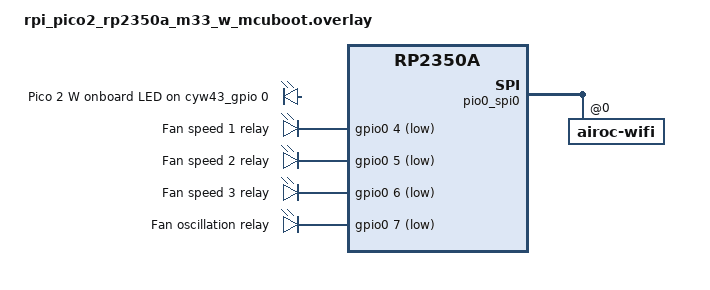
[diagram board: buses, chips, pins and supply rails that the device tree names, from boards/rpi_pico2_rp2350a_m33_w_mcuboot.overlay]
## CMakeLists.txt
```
# SPDX-License-Identifier: Apache-2.0

cmake_minimum_required(VERSION 3.20.0)

# Zephyr currently selects the generic Murata 1YN NVRAM for CYW43439 by
# default. Raspberry Pi Pico W/2 W uses a different board profile. Keep the
# Zephyr and Infineon trees untouched and provide the matching resources from
# this application instead.
set(FW_IMAGE_NAME
  ${CMAKE_CURRENT_LIST_DIR}/resources/pico2w-cyw43439-firmware.bin
)
set(CLM_IMAGE_NAME
  ${CMAKE_CURRENT_LIST_DIR}/resources/pico2w-cyw43439.clm_blob
)
set(NVRAM_IMAGE_NAME
  ${CMAKE_CURRENT_LIST_DIR}/resources/pico2w-cyw43439-nvram.txt
)

find_package(Zephyr REQUIRED HINTS $ENV{ZEPHYR_BASE})
project(wifi_fan_pico2w_aging)

target_sources(app PRIVATE
  src/main.c
  src/status_led.c
  src/fan_controller.c
  src/wifi_manager.c
  src/time_manager.c
  src/mqtt_tls.c
  src/mqtt_fan.c
  src/system_watchdog.c
)

set(gen_dir ${ZEPHYR_BINARY_DIR}/include/generated)

generate_inc_file_for_target(
  app
  ${APPLICATION_SOURCE_DIR}/certs/fan-ca.crt
  ${gen_dir}/fan-ca.crt.inc
)
```

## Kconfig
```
# SPDX-License-Identifier: Apache-2.0

mainmenu "Pico 2 W Wi-Fi fan aging controller"

menu "Wi-Fi fan settings"

config WIFI_FAN_WIFI_SSID
	string "Wi-Fi SSID"
	default ""

config WIFI_FAN_WIFI_PASSWORD
	string "Wi-Fi password"
	default ""

config WIFI_FAN_MQTT_HOST
	string "TLS MQTT broker hostname"
	default "ej3989.iptime.org"

config WIFI_FAN_MQTT_PORT
	int "TLS MQTT broker port"
	default 8883
	range 1 65535

config WIFI_FAN_MQTT_USERNAME
	string "MQTT username"
	default "wifi_fan_pico2w"

config WIFI_FAN_MQTT_PASSWORD
	string "MQTT password"
	default ""

config WIFI_FAN_SNTP_HOST
	string "SNTP server hostname"
	default "pool.ntp.org"

config WIFI_FAN_SNTP_PORT
	int "SNTP server port"
	default 123
	range 1 65535

endmenu

source "Kconfig.zephyr"
```

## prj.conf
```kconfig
# GPIO relay control
CONFIG_GPIO=y

# Wi-Fi and IPv4 networking
CONFIG_NETWORKING=y
CONFIG_WIFI=y
CONFIG_WIFI_NM=y
CONFIG_NET_MGMT=y
CONFIG_NET_MGMT_EVENT=y
CONFIG_NET_MGMT_EVENT_INFO=y
CONFIG_NET_CONNECTION_MANAGER=y
CONFIG_NET_CONFIG_AUTO_INIT=n
CONFIG_NET_IPV4=y
CONFIG_NET_IPV6=n
CONFIG_NET_DHCPV4=y
CONFIG_NET_TCP=y
CONFIG_NET_UDP=y
CONFIG_NET_SOCKETS=y
CONFIG_DNS_RESOLVER=y

# SNTP clock synchronization for certificate validity checks
CONFIG_SNTP=y

# MQTT 3.1.1 over TLS
CONFIG_MQTT_LIB=y
CONFIG_MQTT_LIB_TLS=y
CONFIG_MQTT_KEEPALIVE=30
CONFIG_NET_SOCKETS_SOCKOPT_TLS=y
CONFIG_NET_SOCKETS_TLS_CONNECT_TIMEOUT=15000
CONFIG_TLS_CREDENTIALS=y

# Mbed TLS client configuration
CONFIG_MBEDTLS=y
CONFIG_MBEDTLS_ENABLE_HEAP=y
CONFIG_MBEDTLS_HEAP_SIZE=40000
CONFIG_MBEDTLS_SSL_IN_CONTENT_LEN=4096
CONFIG_MBEDTLS_SSL_OUT_CONTENT_LEN=4096
CONFIG_MBEDTLS_PEM_PARSE_C=y
CONFIG_MBEDTLS_SSL_SERVER_NAME_INDICATION=y
CONFIG_MBEDTLS_SSL_PROTO_TLS1_2=y
CONFIG_MBEDTLS_CIPHERSUITE_TLS_ECDHE_RSA_WITH_AES_128_GCM_SHA256=y
CONFIG_PSA_CRYPTO=y
CONFIG_ENTROPY_GENERATOR=y
CONFIG_POSIX_API=y

# Runtime resources
CONFIG_MAIN_STACK_SIZE=8192
CONFIG_SYSTEM_WORKQUEUE_STACK_SIZE=2048
CONFIG_NET_MGMT_EVENT_STACK_SIZE=4096
CONFIG_NET_MGMT_EVENT_QUEUE_SIZE=16
CONFIG_NET_PKT_RX_COUNT=16
CONFIG_NET_PKT_TX_COUNT=16
CONFIG_NET_BUF_RX_COUNT=32
CONFIG_NET_BUF_TX_COUNT=32

# Console and logs
CONFIG_CONSOLE=y
CONFIG_SERIAL=y
CONFIG_LOG=y
CONFIG_LOG_DEFAULT_LEVEL=3

# Application, connectivity, and RP2350 hardware watchdog recovery
CONFIG_WATCHDOG=y
CONFIG_HWINFO=y
CONFIG_TASK_WDT=y
CONFIG_TASK_WDT_CHANNELS=2
CONFIG_TASK_WDT_HW_FALLBACK=y
# Keep the RP2350 fallback below its approximately 16.7 second maximum.
CONFIG_TASK_WDT_MIN_TIMEOUT=10000
CONFIG_TASK_WDT_HW_FALLBACK_DELAY=5000
```

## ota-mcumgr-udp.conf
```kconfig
# Optional LAN-only OTA profile.
#
# This enables MCUboot image management through MCUmgr/SMP over UDP port 1337.
# Plain SMP/UDP has no client authentication or encryption. Do not expose this
# port through a router and do not use this profile on an untrusted network.

CONFIG_BOOTLOADER_MCUBOOT=y
CONFIG_FLASH=y
CONFIG_FLASH_MAP=y
CONFIG_STREAM_FLASH=y

CONFIG_NET_BUF=y
CONFIG_ZCBOR=y
CONFIG_CRC=y
CONFIG_MCUMGR=y
CONFIG_IMG_MANAGER=y
CONFIG_MCUMGR_GRP_IMG=y
CONFIG_MCUMGR_GRP_OS=y
CONFIG_MCUMGR_GRP_OS_MCUMGR_PARAMS=y

CONFIG_MCUMGR_TRANSPORT_UDP=y
CONFIG_MCUMGR_TRANSPORT_UDP_IPV4=y
CONFIG_MCUMGR_TRANSPORT_UDP_IPV6=n
CONFIG_MCUMGR_TRANSPORT_UDP_PORT=1337
# The application starts SMP/UDP after DHCP has assigned an IPv4 address.
# Automatic system-init startup can run too early on Pico 2 W.
CONFIG_MCUMGR_TRANSPORT_UDP_AUTOMATIC_INIT=n
```

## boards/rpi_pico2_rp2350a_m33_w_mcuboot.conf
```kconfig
# Raspberry Pi Pico 2 W / CYW43439 Wi-Fi settings
CONFIG_WIFI=y
CONFIG_WIFI_AIROC=y
# Supply the Raspberry Pi Pico 2 W CYW43439 NVRAM profile from this project.
# Without custom mode Zephyr selects the generic Murata 1YN module profile.
CONFIG_AIROC_WIFI_CUSTOM=y
# Request KR and let the Pico-specific CLM select its aggregate revision.
# WHD converts revision zero to -1 when it sends the country IOVAR.
CONFIG_WHD_WIFI_COUNTRY="0x0000524B"

# Send Zephyr logs through the SWD debug probe as well as UART0.
CONFIG_USE_SEGGER_RTT=y
CONFIG_RTT_CONSOLE=y
CONFIG_LOG_BACKEND_RTT=y
CONFIG_LOG_BACKEND_RTT_MODE_DROP=y
```

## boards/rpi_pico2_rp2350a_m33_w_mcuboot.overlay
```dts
#include <zephyr/dt-bindings/gpio/gpio.h>

/*
 * The regular rpi_pico2/rp2350a/m33/w DTS declares this CYW43439 GPIO
 * controller, but the /w/mcuboot DTS currently omits it.  Recreate the same
 * child node so the onboard LED alias and status_led.c work in both builds.
 */
&pio0_spi0 {
	airoc-wifi@0 {
		cyw43_gpio: gpio {
			compatible = "infineon,cyw43-gpio";
			gpio-controller;
			#gpio-cells = <2>;
			ngpios = <3>;
		};
	};
};

/ {
	aliases {
		led0 = &onboard_led;
		fan-speed-1-relay = &fan_speed_1_relay;
		fan-speed-2-relay = &fan_speed_2_relay;
		fan-speed-3-relay = &fan_speed_3_relay;
		fan-osc-relay = &fan_osc_relay;
	};

	status_leds {
		compatible = "gpio-leds";

		onboard_led: onboard_led {
			gpios = <&cyw43_gpio 0 GPIO_ACTIVE_HIGH>;
			label = "Pico 2 W onboard LED";
		};
	};

	relays {
		compatible = "gpio-leds";

		fan_speed_1_relay: fan_speed_1_relay {
			gpios = <&gpio0 4 GPIO_ACTIVE_LOW>;
			label = "Fan speed 1 relay";
		};

		fan_speed_2_relay: fan_speed_2_relay {
			gpios = <&gpio0 5 GPIO_ACTIVE_LOW>;
			label = "Fan speed 2 relay";
		};

		fan_speed_3_relay: fan_speed_3_relay {
			gpios = <&gpio0 6 GPIO_ACTIVE_LOW>;
			label = "Fan speed 3 relay";
		};

		fan_osc_relay: fan_osc_relay {
			gpios = <&gpio0 7 GPIO_ACTIVE_LOW>;
			label = "Fan oscillation relay";
		};
	};
};
```

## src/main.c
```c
/* SPDX-License-Identifier: Apache-2.0 */

#include <zephyr/kernel.h>
#include <zephyr/app_version.h>
#include <zephyr/logging/log.h>
#if defined(CONFIG_MCUMGR_TRANSPORT_UDP)
#include <zephyr/mgmt/mcumgr/transport/smp_udp.h>
#endif

#include "fan_controller.h"
#include "mqtt_fan.h"
#include "mqtt_tls.h"
#include "status_led.h"
#include "system_watchdog.h"
#include "time_manager.h"
#include "wifi_manager.h"

LOG_MODULE_REGISTER(wifi_fan_pico2w_aging, LOG_LEVEL_INF);

int main(void)
{
	int err;
#if defined(CONFIG_MCUMGR_TRANSPORT_UDP)
	bool ota_server_started = false;
#endif

	LOG_INF("Pico 2 W Wi-Fi fan aging controller v%s start",
		APP_VERSION_STRING);

	err = fan_controller_init();
	if (err != 0) {
		return err;
	}
	err = fan_restore_state_after_network_watchdog();
	if (err != 0) {
		return err;
	}

	err = wifi_manager_init();
	if (err != 0) {
		LOG_ERR("CYW43439 unavailable; onboard LED test cannot run");
		return err;
	}

	err = status_led_turn_on();
	if (err != 0) {
		return err;
	}

	err = mqtt_tls_init();
	if (err != 0) {
		return err;
	}

	err = system_watchdog_init();
	if (err != 0) {
		return err;
	}

	while (true) {
		system_watchdog_feed();

		if (!wifi_manager_is_connected()) {
			err = wifi_manager_connect();
			if (err != 0) {
				LOG_WRN("Wi-Fi unavailable; retrying in 10 seconds");
				k_sleep(K_SECONDS(10));
				continue;
			}
		}
		system_watchdog_feed();

#if defined(CONFIG_MCUMGR_TRANSPORT_UDP)
		/*
		 * Start SMP/UDP only after DHCP has supplied an IPv4 address.
		 * Starting it during system initialization can miss the usable-network
		 * transition because the Wi-Fi interface is already administratively UP
		 * before it owns an IPv4 address.
		 */
		if (!ota_server_started) {
			err = smp_udp_open();
			if (err != 0) {
				LOG_ERR("Failed to start MCUmgr OTA server (err %d)", err);
				k_sleep(K_SECONDS(10));
				continue;
			}

			ota_server_started = true;
			LOG_INF("MCUmgr OTA server listening on UDP port %d",
				CONFIG_MCUMGR_TRANSPORT_UDP_PORT);
		}
#endif

		err = time_manager_sync();
		if (err != 0) {
			LOG_WRN("Time unavailable; retrying in 10 seconds");
			k_sleep(K_SECONDS(10));
			continue;
		}
		system_watchdog_feed();

		err = mqtt_fan_run();
		system_watchdog_feed();
		LOG_WRN("MQTT session ended (err %d); reconnecting", err);
		k_sleep(K_SECONDS(5));
	}

	return 0;
}
```

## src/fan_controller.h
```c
/* SPDX-License-Identifier: Apache-2.0 */

#ifndef WIFI_FAN_FAN_CONTROLLER_H_
#define WIFI_FAN_FAN_CONTROLLER_H_

#include <stdbool.h>
#include <stdint.h>

struct fan_state {
	uint8_t speed;
	bool oscillating;
};

int fan_controller_init(void);
int fan_set_speed(uint8_t speed);
int fan_set_oscillation(bool oscillating);
int fan_turn_on(void);
int fan_turn_off(void);
struct fan_state fan_get_state(void);
void fan_preserve_state_for_network_watchdog(void);
int fan_restore_state_after_network_watchdog(void);

#endif /* WIFI_FAN_FAN_CONTROLLER_H_ */
```

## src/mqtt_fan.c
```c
/* SPDX-License-Identifier: Apache-2.0 */

#include <errno.h>
#include <stdbool.h>
#include <stdio.h>
#include <string.h>

#include <zephyr/kernel.h>
#include <zephyr/app_version.h>
#include <zephyr/dfu/mcuboot.h>
#include <zephyr/logging/log.h>
#include <zephyr/net/mqtt.h>
#include <zephyr/net/socket.h>
#include <zephyr/posix/arpa/inet.h>
#include <zephyr/posix/poll.h>

#include "fan_controller.h"
#include "mqtt_fan.h"
#include "mqtt_tls.h"
#include "system_watchdog.h"
#include "wifi_manager.h"

LOG_MODULE_REGISTER(mqtt_fan, LOG_LEVEL_INF);

#define MQTT_RX_BUFFER_SIZE 1024
#define MQTT_TX_BUFFER_SIZE 2048
#define MQTT_COMMAND_BUFFER_SIZE 32
#define MQTT_CONNECT_TIMEOUT_MS 10000
#define MQTT_POLL_TIMEOUT_MS 1000
#define RSSI_PUBLISH_INTERVAL_MS 30000

#define TOPIC_POWER_COMMAND       "wifi_fan/aging01/power/set"
#define TOPIC_POWER_STATE         "wifi_fan/aging01/power/state"
#define TOPIC_SPEED_COMMAND       "wifi_fan/aging01/speed/set"
#define TOPIC_SPEED_STATE         "wifi_fan/aging01/speed/state"
#define TOPIC_OSC_COMMAND         "wifi_fan/aging01/oscillation/set"
#define TOPIC_OSC_STATE           "wifi_fan/aging01/oscillation/state"
#define TOPIC_AVAILABILITY        "wifi_fan/aging01/availability"
#define TOPIC_RSSI_STATE          "wifi_fan/aging01/wifi_rssi/state"
#define TOPIC_FAN_DISCOVERY       "homeassistant/fan/wifi_fan_pico2w_aging01/fan/config"
#define TOPIC_RSSI_DISCOVERY      "homeassistant/sensor/wifi_fan_pico2w_aging01/rssi/config"

#define MQTT_CLIENT_ID "wifi_fan_pico2w_aging01"

static const char fan_discovery_payload[] =
	"{"
	"\"name\":\"Pico Fan Aging 01\","
	"\"unique_id\":\"wifi_fan_pico2w_aging01_fan\","
	"\"command_topic\":\"" TOPIC_POWER_COMMAND "\","
	"\"state_topic\":\"" TOPIC_POWER_STATE "\","
	"\"payload_on\":\"ON\",\"payload_off\":\"OFF\","
	"\"percentage_command_topic\":\"" TOPIC_SPEED_COMMAND "\","
	"\"percentage_state_topic\":\"" TOPIC_SPEED_STATE "\","
	"\"speed_range_min\":1,\"speed_range_max\":3,"
	"\"oscillation_command_topic\":\"" TOPIC_OSC_COMMAND "\","
	"\"oscillation_state_topic\":\"" TOPIC_OSC_STATE "\","
	"\"payload_oscillation_on\":\"ON\","
	"\"payload_oscillation_off\":\"OFF\","
	"\"availability_topic\":\"" TOPIC_AVAILABILITY "\","
	"\"payload_available\":\"online\","
	"\"payload_not_available\":\"offline\","
	"\"retain\":false,"
	"\"device\":{"
	"\"identifiers\":[\"wifi_fan_pico2w_aging01\"],"
	"\"name\":\"Pico Fan Aging Controller 01\","
	"\"manufacturer\":\"Zephyr practice\","
	"\"model\":\"Raspberry Pi Pico 2 W relay fan\","
	"\"sw_version\":\"" APP_VERSION_STRING "\"}"
	"}";

static const char rssi_discovery_payload[] =
	"{"
	"\"name\":\"Wi-Fi RSSI\","
	"\"unique_id\":\"wifi_fan_pico2w_aging01_rssi\","
	"\"state_topic\":\"" TOPIC_RSSI_STATE "\","
	"\"availability_topic\":\"" TOPIC_AVAILABILITY "\","
	"\"device_class\":\"signal_strength\","
	"\"state_class\":\"measurement\","
	"\"unit_of_measurement\":\"dBm\","
	"\"entity_category\":\"diagnostic\","
	"\"device\":{\"identifiers\":[\"wifi_fan_pico2w_aging01\"]}"
	"}";

static uint8_t mqtt_rx_buffer[MQTT_RX_BUFFER_SIZE];
static uint8_t mqtt_tx_buffer[MQTT_TX_BUFFER_SIZE];
static struct mqtt_client mqtt_client_ctx;
static struct sockaddr_in broker_address;
static struct pollfd mqtt_poll_fd;
static bool mqtt_connected;
static bool fan_state_dirty;
static uint16_t next_message_id = 1U;

static struct mqtt_utf8 mqtt_username;
static struct mqtt_utf8 mqtt_password;
static struct mqtt_topic mqtt_will_topic;
static struct mqtt_utf8 mqtt_will_message;

static uint16_t allocate_message_id(void)
{
	uint16_t id = next_message_id++;

	if (next_message_id == 0U) {
		next_message_id = 1U;
	}
	return id;
}

static bool topic_equals(const struct mqtt_utf8 *topic, const char *expected)
{
	size_t expected_length = strlen(expected);

	return topic->size == expected_length &&
	       memcmp(topic->utf8, expected, expected_length) == 0;
}

static int publish_text(const char *topic, const char *payload,
			bool retain, enum mqtt_qos qos)
{
	struct mqtt_publish_param param = {0};

	param.message.topic.topic.utf8 = (uint8_t *)topic;
	param.message.topic.topic.size = strlen(topic);
	param.message.topic.qos = qos;
	param.message.payload.data = (uint8_t *)payload;
	param.message.payload.len = strlen(payload);
	param.message_id = qos == MQTT_QOS_0_AT_MOST_ONCE ?
		0U : allocate_message_id();
	param.retain_flag = retain ? 1U : 0U;

	return mqtt_publish(&mqtt_client_ctx, &param);
}

static int publish_fan_state(void)
{
	struct fan_state state = fan_get_state();
	/* uint8_t can require three digits plus the string terminator. */
	char speed[4];
	int err;

	snprintk(speed, sizeof(speed), "%u", (unsigned int)state.speed);

	err = publish_text(TOPIC_POWER_STATE,
			   state.speed > 0U ? "ON" : "OFF", true,
			   MQTT_QOS_1_AT_LEAST_ONCE);
	if (err == 0) {
		err = publish_text(TOPIC_SPEED_STATE, speed, true,
				   MQTT_QOS_1_AT_LEAST_ONCE);
	}
	if (err == 0) {
		err = publish_text(TOPIC_OSC_STATE,
				   state.oscillating ? "ON" : "OFF", true,
				   MQTT_QOS_1_AT_LEAST_ONCE);
	}

	if (err != 0) {
		LOG_ERR("Failed to publish fan state (err %d)", err);
	}
	return err;
}

static int publish_rssi(void)
{
	char payload[16];
	int rssi;
	int err;

	err = wifi_manager_get_rssi(&rssi);
	if (err != 0) {
		LOG_WRN("Failed to read Wi-Fi RSSI (err %d)", err);
		return err;
	}

	snprintk(payload, sizeof(payload), "%d", rssi);
	err = publish_text(TOPIC_RSSI_STATE, payload, true,
			   MQTT_QOS_1_AT_LEAST_ONCE);
	if (err == 0) {
		LOG_INF("Wi-Fi RSSI: %d dBm", rssi);
	}
	return err;
}

static int publish_discovery(void)
{
	int err;

	err = publish_text(TOPIC_FAN_DISCOVERY, fan_discovery_payload, true,
			   MQTT_QOS_1_AT_LEAST_ONCE);
	if (err == 0) {
		err = publish_text(TOPIC_RSSI_DISCOVERY, rssi_discovery_payload, true,
				   MQTT_QOS_1_AT_LEAST_ONCE);
	}

	return err;
}

static int confirm_running_ota_image(void)
{
	int err;

	if (boot_is_img_confirmed()) {
		return 0;
	}

	err = boot_write_img_confirmed();
	if (err == 0) {
		LOG_INF("MCUboot OTA image confirmed after MQTT startup");
	} else {
		LOG_ERR("Failed to confirm MCUboot OTA image (err %d)", err);
	}

	return err;
}

static int apply_command(const struct mqtt_utf8 *topic, const char *payload)
{
	int err = -EINVAL;

	if (topic_equals(topic, TOPIC_POWER_COMMAND)) {
		if (strcmp(payload, "ON") == 0) {
			err = fan_turn_on();
		} else if (strcmp(payload, "OFF") == 0) {
			err = fan_turn_off();
		}
	} else if (topic_equals(topic, TOPIC_SPEED_COMMAND)) {
		if (strcmp(payload, "0") == 0) {
			err = fan_set_speed(0U);
		} else if (strcmp(payload, "1") == 0) {
			err = fan_set_speed(1U);
		} else if (strcmp(payload, "2") == 0) {
			err = fan_set_speed(2U);
		} else if (strcmp(payload, "3") == 0) {
			err = fan_set_speed(3U);
		}
	} else if (topic_equals(topic, TOPIC_OSC_COMMAND)) {
		if (strcmp(payload, "ON") == 0) {
			err = fan_set_oscillation(true);
		} else if (strcmp(payload, "OFF") == 0) {
			err = fan_set_oscillation(false);
		}
	}

	if (err == 0) {
		fan_state_dirty = true;
		LOG_INF("Applied MQTT command: %s", payload);
	} else {
		LOG_WRN("Ignored invalid MQTT command payload '%s'", payload);
	}
	return err;
}

static int discard_publish_payload(size_t length)
{
	uint8_t discard[32];
	size_t remaining = length;
	int err;

	while (remaining > 0U) {
		size_t chunk = MIN(remaining, sizeof(discard));

		err = mqtt_readall_publish_payload(&mqtt_client_ctx, discard, chunk);
		if (err != 0) {
			return err;
		}
		remaining -= chunk;
	}

	return 0;
}

static void handle_publish(const struct mqtt_publish_param *publish)
{
	char payload[MQTT_COMMAND_BUFFER_SIZE];
	size_t length = publish->message.payload.len;
	int err;

	if (length >= sizeof(payload)) {
		LOG_WRN("Ignoring oversized MQTT command (%u bytes)",
			(unsigned int)length);
		(void)discard_publish_payload(length);
		return;
	}

	err = mqtt_readall_publish_payload(&mqtt_client_ctx,
					   (uint8_t *)payload, length);
	if (err != 0) {
		LOG_ERR("Failed to read MQTT payload (err %d)", err);
		return;
	}
	payload[length] = '\0';

	/* A retained command could unexpectedly restart the fan after reboot. */
	if (publish->retain_flag != 0U) {
		LOG_WRN("Ignored retained MQTT command");
		return;
	}

	(void)apply_command(&publish->message.topic.topic, payload);
}

static void mqtt_event_handler(struct mqtt_client *const client,
			       const struct mqtt_evt *event)
{
	int err;

	switch (event->type) {
	case MQTT_EVT_CONNACK:
		if (event->result == 0) {
			mqtt_connected = true;
			LOG_INF("Connected to MQTT broker");
		} else if (event->result == MQTT_BAD_USER_NAME_OR_PASSWORD) {
			LOG_ERR("MQTT login rejected: bad username or password");
		} else if (event->result == MQTT_NOT_AUTHORIZED) {
			LOG_ERR("MQTT login rejected: client is not authorized");
		} else {
			LOG_ERR("MQTT connection rejected (result %d)", event->result);
		}
		break;

	case MQTT_EVT_DISCONNECT:
		mqtt_connected = false;
		LOG_WRN("Disconnected from MQTT broker (result %d)", event->result);
		break;

	case MQTT_EVT_PUBLISH:
		handle_publish(&event->param.publish);
		if (event->param.publish.message.topic.qos ==
		    MQTT_QOS_1_AT_LEAST_ONCE) {
			const struct mqtt_puback_param ack = {
				.message_id = event->param.publish.message_id,
			};

			err = mqtt_publish_qos1_ack(client, &ack);
			if (err != 0) {
				LOG_WRN("Failed to acknowledge MQTT command (err %d)", err);
			}
		}
		break;

	case MQTT_EVT_SUBACK:
		LOG_INF("MQTT command topics subscribed");
		break;

	case MQTT_EVT_PUBACK:
	case MQTT_EVT_PINGRESP:
		break;

	default:
		break;
	}
}

static int subscribe_to_commands(void)
{
	struct mqtt_topic topics[] = {
		{
			.topic = {
				.utf8 = (uint8_t *)TOPIC_POWER_COMMAND,
				.size = sizeof(TOPIC_POWER_COMMAND) - 1U,
			},
			.qos = MQTT_QOS_0_AT_MOST_ONCE,
		},
		{
			.topic = {
				.utf8 = (uint8_t *)TOPIC_SPEED_COMMAND,
				.size = sizeof(TOPIC_SPEED_COMMAND) - 1U,
			},
			.qos = MQTT_QOS_0_AT_MOST_ONCE,
		},
		{
			.topic = {
				.utf8 = (uint8_t *)TOPIC_OSC_COMMAND,
				.size = sizeof(TOPIC_OSC_COMMAND) - 1U,
			},
			.qos = MQTT_QOS_0_AT_MOST_ONCE,
		},
	};
	const struct mqtt_subscription_list subscriptions = {
		.list = topics,
		.list_count = ARRAY_SIZE(topics),
		.message_id = allocate_message_id(),
	};

	return mqtt_subscribe(&mqtt_client_ctx, &subscriptions);
}

static int mqtt_socket_poll(int timeout_ms)
{
	mqtt_poll_fd.fd = mqtt_client_ctx.transport.tls.sock;
	mqtt_poll_fd.events = POLLIN;
	mqtt_poll_fd.revents = 0;

	return poll(&mqtt_poll_fd, 1, timeout_ms);
}

static int resolve_broker_address(void)
{
	char port[6];
	char resolved_address[INET_ADDRSTRLEN];
	struct zsock_addrinfo *result = NULL;
	const struct zsock_addrinfo hints = {
		.ai_family = AF_INET,
		.ai_socktype = SOCK_STREAM,
	};
	int err;

	snprintk(port, sizeof(port), "%d", CONFIG_WIFI_FAN_MQTT_PORT);
	err = zsock_getaddrinfo(CONFIG_WIFI_FAN_MQTT_HOST, port, &hints,
			       &result);
	if (err != 0) {
		LOG_ERR("Failed to resolve MQTT host '%s': %s",
			CONFIG_WIFI_FAN_MQTT_HOST, zsock_gai_strerror(err));
		return -EHOSTUNREACH;
	}
	if (result == NULL || result->ai_addr == NULL ||
	    result->ai_addrlen < sizeof(broker_address)) {
		LOG_ERR("No IPv4 address found for MQTT host '%s'",
			CONFIG_WIFI_FAN_MQTT_HOST);
		if (result != NULL) {
			zsock_freeaddrinfo(result);
		}
		return -ENOENT;
	}

	memcpy(&broker_address, result->ai_addr, sizeof(broker_address));
	zsock_freeaddrinfo(result);

	if (inet_ntop(AF_INET, &broker_address.sin_addr, resolved_address,
		      sizeof(resolved_address)) != NULL) {
		LOG_INF("Resolved MQTT host '%s' to %s",
			CONFIG_WIFI_FAN_MQTT_HOST, resolved_address);
	}

	return 0;
}

static void mqtt_client_prepare(void)
{
	mqtt_client_init(&mqtt_client_ctx);

	mqtt_client_ctx.broker = &broker_address;
	mqtt_client_ctx.evt_cb = mqtt_event_handler;
	mqtt_client_ctx.client_id.utf8 = (uint8_t *)MQTT_CLIENT_ID;
	mqtt_client_ctx.client_id.size = sizeof(MQTT_CLIENT_ID) - 1U;
	mqtt_client_ctx.protocol_version = MQTT_VERSION_3_1_1;
	mqtt_client_ctx.transport.type = MQTT_TRANSPORT_SECURE;
	mqtt_client_ctx.rx_buf = mqtt_rx_buffer;
	mqtt_client_ctx.rx_buf_size = sizeof(mqtt_rx_buffer);
	mqtt_client_ctx.tx_buf = mqtt_tx_buffer;
	mqtt_client_ctx.tx_buf_size = sizeof(mqtt_tx_buffer);
	mqtt_client_ctx.keepalive = 30U;
	mqtt_client_ctx.clean_session = 1U;

	mqtt_username.utf8 = (uint8_t *)CONFIG_WIFI_FAN_MQTT_USERNAME;
	mqtt_username.size = strlen(CONFIG_WIFI_FAN_MQTT_USERNAME);
	mqtt_client_ctx.user_name = &mqtt_username;

	mqtt_password.utf8 = (uint8_t *)CONFIG_WIFI_FAN_MQTT_PASSWORD;
	mqtt_password.size = strlen(CONFIG_WIFI_FAN_MQTT_PASSWORD);
	mqtt_client_ctx.password = &mqtt_password;

	mqtt_client_ctx.transport.tls.config.peer_verify =
		TLS_PEER_VERIFY_REQUIRED;
	mqtt_client_ctx.transport.tls.config.cipher_list = NULL;
	mqtt_client_ctx.transport.tls.config.sec_tag_list = mqtt_tls_sec_tags;
	mqtt_client_ctx.transport.tls.config.sec_tag_count =
		MQTT_TLS_SEC_TAG_COUNT;
	mqtt_client_ctx.transport.tls.config.hostname =
		CONFIG_WIFI_FAN_MQTT_HOST;

	mqtt_will_topic.topic.utf8 = (uint8_t *)TOPIC_AVAILABILITY;
	mqtt_will_topic.topic.size = sizeof(TOPIC_AVAILABILITY) - 1U;
	mqtt_will_topic.qos = MQTT_QOS_1_AT_LEAST_ONCE;
	mqtt_will_message.utf8 = (uint8_t *)"offline";
	mqtt_will_message.size = sizeof("offline") - 1U;
	mqtt_client_ctx.will_topic = &mqtt_will_topic;
	mqtt_client_ctx.will_message = &mqtt_will_message;
	mqtt_client_ctx.will_retain = 1U;
}

static int wait_for_connack(void)
{
	int64_t deadline = k_uptime_get() + MQTT_CONNECT_TIMEOUT_MS;
	int err;

	while (!mqtt_connected && k_uptime_get() < deadline) {
		err = mqtt_socket_poll(MQTT_POLL_TIMEOUT_MS);
		if (err < 0) {
			return -errno;
		}
		if (err > 0 && (mqtt_poll_fd.revents & POLLIN) != 0) {
			err = mqtt_input(&mqtt_client_ctx);
			if (err != 0) {
				return err;
			}
		}
		if ((mqtt_poll_fd.revents & (POLLERR | POLLHUP | POLLNVAL)) != 0) {
			return -ENOTCONN;
		}
	}

	return mqtt_connected ? 0 : -ETIMEDOUT;
}

int mqtt_fan_run(void)
{
	int64_t next_rssi_publish;
	int err;

	if (strlen(CONFIG_WIFI_FAN_MQTT_USERNAME) == 0U ||
	    strlen(CONFIG_WIFI_FAN_MQTT_PASSWORD) == 0U) {
		LOG_ERR("MQTT TLS username and password must be configured");
		return -EINVAL;
	}

	err = resolve_broker_address();
	if (err != 0) {
		return err;
	}

	mqtt_connected = false;
	mqtt_client_prepare();

	LOG_INF("Connecting to MQTT broker %s:%d",
		CONFIG_WIFI_FAN_MQTT_HOST, CONFIG_WIFI_FAN_MQTT_PORT);
	err = mqtt_connect(&mqtt_client_ctx);
	if (err != 0) {
		return err;
	}

	err = wait_for_connack();
	if (err != 0) {
		mqtt_abort(&mqtt_client_ctx);
		return err;
	}

	err = subscribe_to_commands();
	if (err == 0) {
		err = publish_discovery();
	}
	if (err == 0) {
		err = publish_text(TOPIC_AVAILABILITY, "online", true,
				   MQTT_QOS_1_AT_LEAST_ONCE);
	}
	if (err == 0) {
		err = publish_fan_state();
	}
	if (err == 0) {
		err = publish_rssi();
	}
	if (err == 0) {
		err = confirm_running_ota_image();
	}
	if (err != 0) {
		mqtt_abort(&mqtt_client_ctx);
		return err;
	}

	system_watchdog_network_healthy();

	next_rssi_publish = k_uptime_get() + RSSI_PUBLISH_INTERVAL_MS;
	while (wifi_manager_is_connected() && mqtt_connected) {
		system_watchdog_feed();
		system_watchdog_network_healthy();

		err = mqtt_socket_poll(MQTT_POLL_TIMEOUT_MS);
		if (err < 0) {
			err = -errno;
			break;
		}
		if (err > 0 && (mqtt_poll_fd.revents & POLLIN) != 0) {
			err = mqtt_input(&mqtt_client_ctx);
			if (err != 0) {
				break;
			}
		}
		if ((mqtt_poll_fd.revents & (POLLERR | POLLHUP | POLLNVAL)) != 0) {
			err = -ENOTCONN;
			break;
		}

		err = mqtt_live(&mqtt_client_ctx);
		if (err != 0 && err != -EAGAIN) {
			break;
		}

		if (fan_state_dirty) {
			fan_state_dirty = false;
			err = publish_fan_state();
			if (err != 0) {
				break;
			}
		}

		if (k_uptime_get() >= next_rssi_publish) {
			(void)publish_rssi();
			next_rssi_publish =
				k_uptime_get() + RSSI_PUBLISH_INTERVAL_MS;
		}
	}

	mqtt_connected = false;
	mqtt_abort(&mqtt_client_ctx);
	return err != 0 ? err : -ENOTCONN;
}
```

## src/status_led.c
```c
/* SPDX-License-Identifier: Apache-2.0 */

#include <errno.h>

#include <zephyr/device.h>
#include <zephyr/drivers/gpio.h>
#include <zephyr/logging/log.h>
#include <zephyr/sys/util.h>

#include <whd.h>

#include "status_led.h"

LOG_MODULE_REGISTER(status_led, LOG_LEVEL_INF);

#define STATUS_LED_NODE DT_ALIAS(led0)

static const struct gpio_dt_spec status_led =
	GPIO_DT_SPEC_GET(STATUS_LED_NODE, gpios);

/* Provided by the AIROC driver and WHD. */
extern whd_interface_t airoc_wifi_get_whd_interface(void);
extern whd_result_t whd_wifi_set_iovar_buffer(whd_interface_t ifp,
					       const char *iovar,
					       void *in_buffer,
					       uint16_t in_buffer_length);

int status_led_turn_on(void)
{
	whd_interface_t ifp;
	uint32_t gpioout[2] = {
		BIT(status_led.pin), /* GPIO mask */
		BIT(status_led.pin), /* GPIO value */
	};
	whd_result_t whd_result;
	int err;

	if (!gpio_is_ready_dt(&status_led)) {
		LOG_ERR("CYW43439 onboard LED GPIO is not ready");
		return -ENODEV;
	}

	/* Configure the Zephyr GPIO object first, but do not trust its write.
	 * Zephyr's current CYW43 GPIO driver sends only one uint32_t to the
	 * "gpioout" IOVAR. CYW43439 requires two uint32_t values: mask and
	 * value. Send the complete payload below as a project-local workaround.
	 */
	err = gpio_pin_configure_dt(&status_led, GPIO_OUTPUT_INACTIVE);
	if (err != 0) {
		LOG_ERR("Failed to configure CYW43439 onboard LED (err %d)", err);
		return err;
	}

	ifp = airoc_wifi_get_whd_interface();
	if (ifp == NULL) {
		LOG_ERR("CYW43439 WHD interface is unavailable");
		return -ENODEV;
	}

	whd_result = whd_wifi_set_iovar_buffer(ifp, "gpioout", gpioout,
						 sizeof(gpioout));
	if (whd_result != WHD_SUCCESS) {
		LOG_ERR("CYW43439 LED gpioout mask/value write failed (0x%08x)",
			(unsigned int)whd_result);
		return -EIO;
	}

	LOG_INF("CYW43439 onboard LED ON using gpioout mask/value payload");
	return 0;
}
```

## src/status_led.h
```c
/* SPDX-License-Identifier: Apache-2.0 */

#ifndef WIFI_FAN_PICO2W_STATUS_LED_H_
#define WIFI_FAN_PICO2W_STATUS_LED_H_

int status_led_turn_on(void);

#endif /* WIFI_FAN_PICO2W_STATUS_LED_H_ */
```

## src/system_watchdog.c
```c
/* SPDX-License-Identifier: Apache-2.0 */

#include <zephyr/device.h>
#include <zephyr/devicetree.h>
#include <zephyr/drivers/watchdog.h>
#include <zephyr/drivers/hwinfo.h>
#include <zephyr/logging/log.h>
#include <zephyr/sys/printk.h>
#include <zephyr/sys/reboot.h>
#include <zephyr/sys/util.h>
#include <zephyr/task_wdt/task_wdt.h>

#include "system_watchdog.h"

LOG_MODULE_REGISTER(system_watchdog, LOG_LEVEL_INF);

#define APPLICATION_STALL_TIMEOUT_MS 120000U
#define NETWORK_OUTAGE_TIMEOUT_MS    180000U

static int application_channel = -1;
static int network_channel = -1;

static void watchdog_timeout(int channel_id, void *user_data)
{
	ARG_UNUSED(user_data);

	if (channel_id == application_channel) {
		printk("Application watchdog expired; rebooting\n");
	} else if (channel_id == network_channel) {
		printk("Network unavailable for 180 seconds; rebooting\n");
	} else {
		printk("Unknown watchdog channel %d expired; rebooting\n", channel_id);
	}

	sys_reboot(SYS_REBOOT_COLD);
}

static void log_reset_cause(void)
{
	uint32_t cause;

	if (hwinfo_get_reset_cause(&cause) != 0) {
		return;
	}

	if ((cause & RESET_WATCHDOG) != 0U) {
		LOG_WRN("Previous reset was caused by the RP2350 hardware watchdog");
	}
	if ((cause & RESET_BROWNOUT) != 0U) {
		LOG_WRN("Previous reset included a brownout condition");
	}

	(void)hwinfo_clear_reset_cause();
}

int system_watchdog_init(void)
{
	const struct device *hardware_watchdog =
		DEVICE_DT_GET_OR_NULL(DT_ALIAS(watchdog0));
	int err;

	log_reset_cause();

	if (hardware_watchdog != NULL && device_is_ready(hardware_watchdog)) {
		err = task_wdt_init(hardware_watchdog);
		if (err != 0) {
			LOG_ERR("Hardware watchdog initialization failed (err %d)", err);
			return err;
		}
	} else {
		LOG_WRN("Hardware watchdog unavailable; using task watchdog only");
		err = task_wdt_init(NULL);
		if (err != 0) {
			return err;
		}
	}

	application_channel = task_wdt_add(APPLICATION_STALL_TIMEOUT_MS,
					   watchdog_timeout, NULL);
	if (application_channel < 0) {
		LOG_ERR("Application watchdog channel setup failed (err %d)",
			application_channel);
		return application_channel;
	}

	network_channel = task_wdt_add(NETWORK_OUTAGE_TIMEOUT_MS,
				       watchdog_timeout, NULL);
	if (network_channel < 0) {
		LOG_ERR("Network watchdog channel setup failed (err %d)",
			network_channel);
		return network_channel;
	}

	LOG_INF("Watchdogs armed: application 120 s, network 180 s, hardware fallback 15 s");
	return 0;
}

void system_watchdog_feed(void)
{
	if (application_channel >= 0) {
		(void)task_wdt_feed(application_channel);
	}
}

void system_watchdog_network_healthy(void)
{
	if (network_channel >= 0) {
		(void)task_wdt_feed(network_channel);
	}
}
```

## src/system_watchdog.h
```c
/* SPDX-License-Identifier: Apache-2.0 */

#ifndef SYSTEM_WATCHDOG_H_
#define SYSTEM_WATCHDOG_H_

int system_watchdog_init(void);
void system_watchdog_feed(void);
void system_watchdog_network_healthy(void);

#endif /* SYSTEM_WATCHDOG_H_ */
```

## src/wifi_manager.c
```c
/* SPDX-License-Identifier: Apache-2.0 */

#include <errno.h>
#include <string.h>

#include <zephyr/kernel.h>
#include <zephyr/logging/log.h>
#include <zephyr/net/net_if.h>
#include <zephyr/net/dhcpv4.h>
#include <zephyr/net/net_ip.h>
#include <zephyr/net/net_mgmt.h>
#include <zephyr/net/wifi_mgmt.h>
#include <zephyr/sys/atomic.h>

#include "wifi_manager.h"

LOG_MODULE_REGISTER(wifi_manager, LOG_LEVEL_INF);

#define WIFI_EVENTS \
	(NET_EVENT_WIFI_CONNECT_RESULT | NET_EVENT_WIFI_DISCONNECT_RESULT)
#define WIFI_CONNECT_TIMEOUT K_SECONDS(20)
#define DHCP_TIMEOUT_SECONDS 30

static struct net_if *wifi_iface;
static struct net_mgmt_event_callback wifi_callback;
static K_SEM_DEFINE(wifi_result_sem, 0, 1);
static atomic_t wifi_connected;
static int wifi_connect_result;

static void wifi_event_handler(struct net_mgmt_event_callback *cb,
			       uint64_t event, struct net_if *iface)
{
	ARG_UNUSED(iface);

	if (event == NET_EVENT_WIFI_CONNECT_RESULT) {
		const struct wifi_status *status = cb->info;

		wifi_connect_result = status != NULL ? status->status : -EIO;
		if (wifi_connect_result == 0) {
			atomic_set(&wifi_connected, 1);
			LOG_INF("Connected to Wi-Fi access point");
		} else {
			atomic_clear(&wifi_connected);
			LOG_ERR("Wi-Fi connection failed (status %d)",
				wifi_connect_result);
		}
		k_sem_give(&wifi_result_sem);
	} else if (event == NET_EVENT_WIFI_DISCONNECT_RESULT) {
		atomic_clear(&wifi_connected);
		LOG_WRN("Wi-Fi disconnected");
	}
}

int wifi_manager_init(void)
{
	wifi_iface = net_if_get_wifi_sta();
	if (wifi_iface == NULL) {
		LOG_ERR("Wi-Fi station interface was not found");
		return -ENODEV;
	}

	net_mgmt_init_event_callback(&wifi_callback, wifi_event_handler, WIFI_EVENTS);
	net_mgmt_add_event_callback(&wifi_callback);
	return 0;
}

int wifi_manager_connect(void)
{
	struct wifi_connect_req_params params = {0};
	struct net_in_addr *address;
	char address_text[NET_IPV4_ADDR_LEN];
	int err;

	if (strlen(CONFIG_WIFI_FAN_WIFI_SSID) == 0U) {
		LOG_ERR("CONFIG_WIFI_FAN_WIFI_SSID is empty");
		return -EINVAL;
	}

	params.ssid = CONFIG_WIFI_FAN_WIFI_SSID;
	params.ssid_length = strlen(CONFIG_WIFI_FAN_WIFI_SSID);
	params.channel = WIFI_CHANNEL_ANY;
	params.band = WIFI_FREQ_BAND_UNKNOWN;
	params.mfp = WIFI_MFP_OPTIONAL;

	if (strlen(CONFIG_WIFI_FAN_WIFI_PASSWORD) == 0U) {
		params.security = WIFI_SECURITY_TYPE_NONE;
	} else {
		params.security = WIFI_SECURITY_TYPE_PSK;
		params.psk = CONFIG_WIFI_FAN_WIFI_PASSWORD;
		params.psk_length = strlen(CONFIG_WIFI_FAN_WIFI_PASSWORD);
	}

	atomic_clear(&wifi_connected);
	k_sem_reset(&wifi_result_sem);
	LOG_INF("Connecting to Wi-Fi SSID '%s'", CONFIG_WIFI_FAN_WIFI_SSID);

	err = net_mgmt(NET_REQUEST_WIFI_CONNECT, wifi_iface, &params, sizeof(params));
	if (err != 0) {
		LOG_ERR("Wi-Fi connect request failed (err %d)", err);
		return err;
	}

	err = k_sem_take(&wifi_result_sem, WIFI_CONNECT_TIMEOUT);
	if (err != 0) {
		LOG_ERR("Wi-Fi connection timed out");
		return err;
	}
	if (wifi_connect_result != 0) {
		return -EIO;
	}

	net_dhcpv4_restart(wifi_iface);
	for (int i = 0; i < DHCP_TIMEOUT_SECONDS; ++i) {
		if (!wifi_manager_is_connected()) {
			return -ENETDOWN;
		}

		address = net_if_ipv4_get_global_addr(wifi_iface, NET_ADDR_PREFERRED);
		if (address != NULL) {
			if (net_addr_ntop(AF_INET, address, address_text,
					  sizeof(address_text)) != NULL) {
				LOG_INF("IPv4 address acquired: %s", address_text);
			} else {
				LOG_INF("IPv4 address acquired");
			}
			return 0;
		}
		k_sleep(K_SECONDS(1));
	}

	LOG_ERR("DHCP timed out");
	return -ETIMEDOUT;
}

bool wifi_manager_is_connected(void)
{
	return atomic_get(&wifi_connected) != 0;
}

int wifi_manager_get_rssi(int *rssi)
{
	struct wifi_iface_status status = {0};
	int err;

	if (rssi == NULL) {
		return -EINVAL;
	}

	err = net_mgmt(NET_REQUEST_WIFI_IFACE_STATUS, wifi_iface,
		       &status, sizeof(status));
	if (err != 0) {
		return err;
	}

	*rssi = status.rssi;
	return 0;
}
```

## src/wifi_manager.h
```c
/* SPDX-License-Identifier: Apache-2.0 */

#ifndef WIFI_FAN_WIFI_MANAGER_H_
#define WIFI_FAN_WIFI_MANAGER_H_

#include <stdbool.h>

int wifi_manager_init(void);
int wifi_manager_connect(void);
bool wifi_manager_is_connected(void);
int wifi_manager_get_rssi(int *rssi);

#endif /* WIFI_FAN_WIFI_MANAGER_H_ */
```
